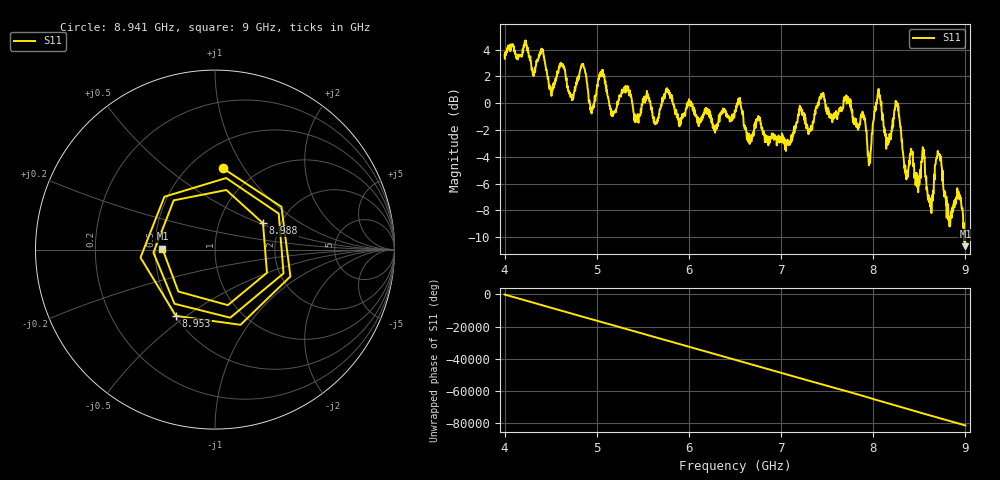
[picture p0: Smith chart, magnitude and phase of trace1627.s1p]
! Created with skrf 1.8.0 (http://scikit-rf.org).
# Hz S RI R 50.0
!freq ReS11 ImS11
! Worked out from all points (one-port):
!   1601 points, 4 GHz to 9 GHz, reference 50 ohm
!   lowest |S11| = -10.7 dB at 9 GHz (marker M1), VSWR 1.83, Z = 27.3 + j0.279 ohm
!   |S11| at or under -10 dB: 8.986598 GHz to 8.990793 GHz (4.195 MHz wide, 0.0467 % of centre); 8.994557 GHz to end of sweep
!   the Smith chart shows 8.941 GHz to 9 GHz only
!   S11 on the Smith chart (normalised r, x): 8.941 GHz: 0.71, +0.81; 8.953 GHz: 0.50, -0.46; 8.988 GHz: 1.62, +0.53; 9 GHz: 0.55, +0.01
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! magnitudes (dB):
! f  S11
! 4 GHz  3.6
! 4.403 GHz  3.9
! 4.506 GHz  0.7
! 4.625 GHz  2.8
! 4.725 GHz  0.5
! 4.856 GHz  2.7
! 4.947 GHz  -0.3
! 5.05 GHz  2.0
! 5.162 GHz  -0.9
! 5.25 GHz  0.5
! 5.875 GHz  -0.8
! 6.5 GHz  -0.5
! 7.125 GHz  -2.3
! 7.441 GHz  0.5
! 7.75 GHz  -0.2
! 7.956 GHz  -4.2
! 8.053 GHz  0.7
! 8.162 GHz  -3.1
! 8.256 GHz  -0.1
! 8.375 GHz  -5.0
! 8.544 GHz  -3.6
! 8.619 GHz  -7.7
! 8.712 GHz  -3.8
! 8.822 GHz  -8.7
! 8.941 GHz  -6.9
! 8.953 GHz  -7.4
! 8.988 GHz  -10.3
! 9 GHz  -10.7
